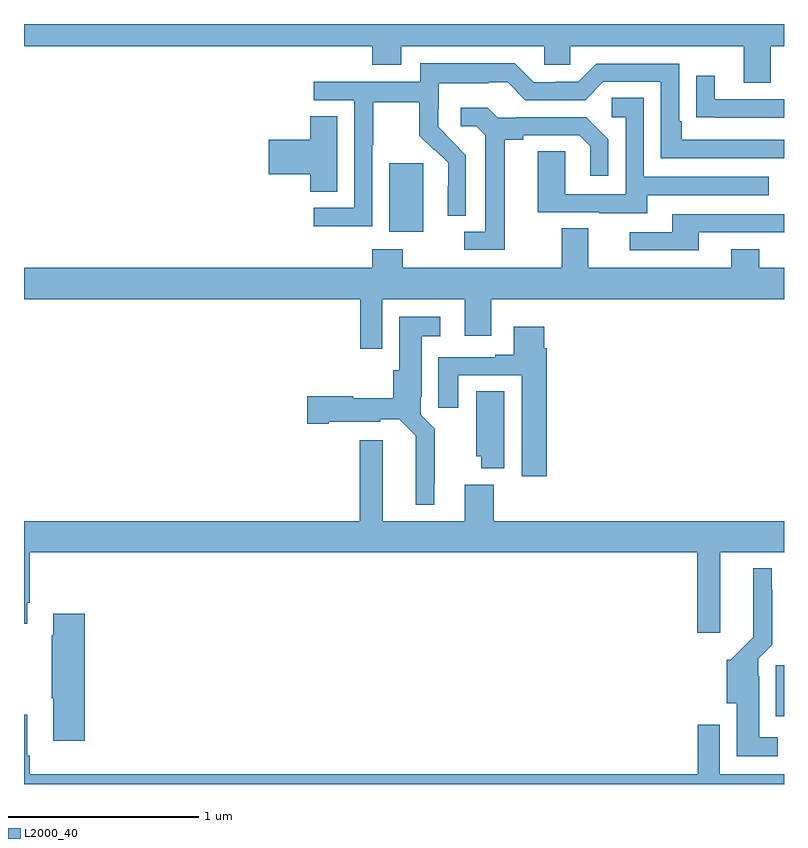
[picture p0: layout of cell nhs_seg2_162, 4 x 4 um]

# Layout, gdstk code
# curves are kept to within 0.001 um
import gdstk
lib = gdstk.Library(unit=1e-6, precision=1e-09)
def R(c, l, rs):  # rectangles x0, y0, x1, y1
    for r in rs: c.add(gdstk.rectangle(r[:2], r[2:], *l))
def P(c, l, *ps):  # polygons
    for p in ps: c.add(gdstk.Polygon(p, *l))
L2000_40 = (2000, 40)

nhs_seg2_162 = lib.new_cell('nhs_seg2_162')
R(nhs_seg2_162, L2000_40, [(122.957,596.157,123,596.425), (120.923,598.706,121.102,599.067)])
P(nhs_seg2_162, L2000_40, [(122.929,599.684),(123,599.684),(123,599.8),(119,599.8),(119,599.684),(120.833,599.684),(120.833,599.585),(120.985,599.585),(120.985,599.684),(121.737,599.684),(121.737,599.586),(121.875,599.586),(121.875,599.684),(122.789,599.684),(122.789,599.49),(122.929,599.49)],
  [(120.834,599.164),(120.837,599.164),(120.837,599.388),(121.081,599.388),(121.081,599.213),(121.158,599.136),(121.161,599.139),(121.232,599.069),(121.232,598.946),(121.23,598.946),(121.23,598.792),(121.326,598.792),(121.326,599.11),(121.18,599.258),(121.18,599.355),(121.182,599.355),(121.182,599.489),(121.445,599.489),(121.445,599.493),(121.545,599.493),(121.638,599.4),(121.953,599.4),(122.049,599.496),(122.352,599.496),(122.352,599.094),(123,599.094),(123,599.19),(122.461,599.19),(122.461,599.287),(122.448,599.287),(122.448,599.592),(122.013,599.592),(121.917,599.496),(121.799,599.496),(121.799,599.493),(121.683,599.493),(121.583,599.593),(121.086,599.593),(121.086,599.496),(120.525,599.496),(120.525,599.4),(120.738,599.4),(120.738,598.833),(120.525,598.833),(120.525,598.735),(120.834,598.735)],
  [(123,599.403),(122.635,599.403),(122.635,599.527),(122.539,599.527),(122.539,599.308),(122.641,599.308),(122.641,599.307),(123,599.307)],
  [(122.281,598.899),(122.921,598.899),(122.921,598.995),(122.262,598.995),(122.262,599.411),(122.094,599.411),(122.094,599.31),(122.166,599.31),(122.166,598.905),(121.848,598.905),(121.848,599.129),(121.703,599.129),(121.703,598.809),(122.027,598.809),(122.027,598.805),(122.281,598.805)],
  [(121.531,599.192),(121.627,599.192),(121.627,599.214),(121.922,599.214),(121.979,599.157),(121.979,599.001),(122.076,599.001),(122.076,599.194),(121.96,599.31),(121.588,599.31),(121.588,599.307),(121.494,599.307),(121.442,599.359),(121.299,599.359),(121.299,599.262),(121.38,599.262),(121.427,599.215),(121.427,598.707),(121.317,598.707),(121.317,598.611),(121.531,598.611)],
  [(120.649,599.315),(120.506,599.315),(120.506,599.192),(120.288,599.192),(120.288,599.009),(120.506,599.009),(120.506,598.918),(120.649,598.918)],
  [(122.551,598.704),(123,598.704),(123,598.8),(122.411,598.8),(122.411,598.704),(122.187,598.704),(122.187,598.608),(122.551,598.608)],
  [(120.885,598.352),(121.319,598.352),(121.319,598.158),(121.459,598.158),(121.459,598.352),(123,598.352),(123,598.516),(122.871,598.516),(122.871,598.615),(122.723,598.615),(122.723,598.516),(121.969,598.516),(121.969,598.724),(121.829,598.724),(121.829,598.516),(120.993,598.516),(120.993,598.615),(120.833,598.615),(120.833,598.516),(119,598.516),(119,598.352),(120.769,598.352),(120.769,598.092),(120.885,598.092)],
  [(121.159,597.379),(121.163,597.379),(121.163,597.67),(121.089,597.744),(121.089,597.838),(121.093,597.838),(121.093,598.157),(121.192,598.157),(121.192,598.258),(120.974,598.258),(120.974,597.978),(120.944,597.978),(120.944,597.829),(120.732,597.829),(120.732,597.842),(120.492,597.842),(120.492,597.695),(120.604,597.695),(120.604,597.707),(120.876,597.707),(120.876,597.719),(120.975,597.719),(121.062,597.632),(121.061,597.269),(121.159,597.269)],
  [(121.751,598.094),(121.738,598.094),(121.738,598.207),(121.577,598.207),(121.577,598.06),(121.481,598.06),(121.481,598.047),(121.181,598.047),(121.181,597.78),(121.285,597.78),(121.285,597.951),(121.619,597.951),(121.619,597.42),(121.751,597.42)],
  [(121.528,597.866),(121.379,597.866),(121.379,597.525),(121.406,597.525),(121.406,597.461),(121.528,597.461)],
  [(122.665,597.02),(123,597.02),(123,597.184),(121.472,597.184),(121.472,597.376),(121.319,597.376),(121.319,597.184),(120.889,597.184),(120.889,597.61),(120.767,597.61),(120.767,597.184),(119,597.184),(119,596.643),(119.017,596.643),(119.017,596.755),(119.03,596.755),(119.03,597.02),(122.543,597.02),(122.543,596.595),(122.665,596.595)],
  [(122.968,596.047),(122.869,596.047),(122.869,596.366),(122.865,596.366),(122.865,596.46),(122.939,596.534),(122.939,596.825),(122.935,596.825),(122.935,596.935),(122.837,596.935),(122.838,596.572),(122.72,596.454),(122.699,596.454),(122.699,596.226),(122.75,596.226),(122.75,595.946),(122.968,595.946)],
  [(119.321,596.695),(119.153,596.695),(119.153,596.582),(119.146,596.582),(119.146,596.251),(119.153,596.251),(119.153,596.028),(119.321,596.028)],
  [(123,595.852),(122.661,595.852),(122.661,596.113),(122.545,596.113),(122.545,595.852),(119.03,595.852),(119.03,595.948),(119.017,595.948),(119.017,596.164),(119,596.164),(119,595.8),(123,595.8)])

lib.write_gds('nhs_seg2_162.gds')
